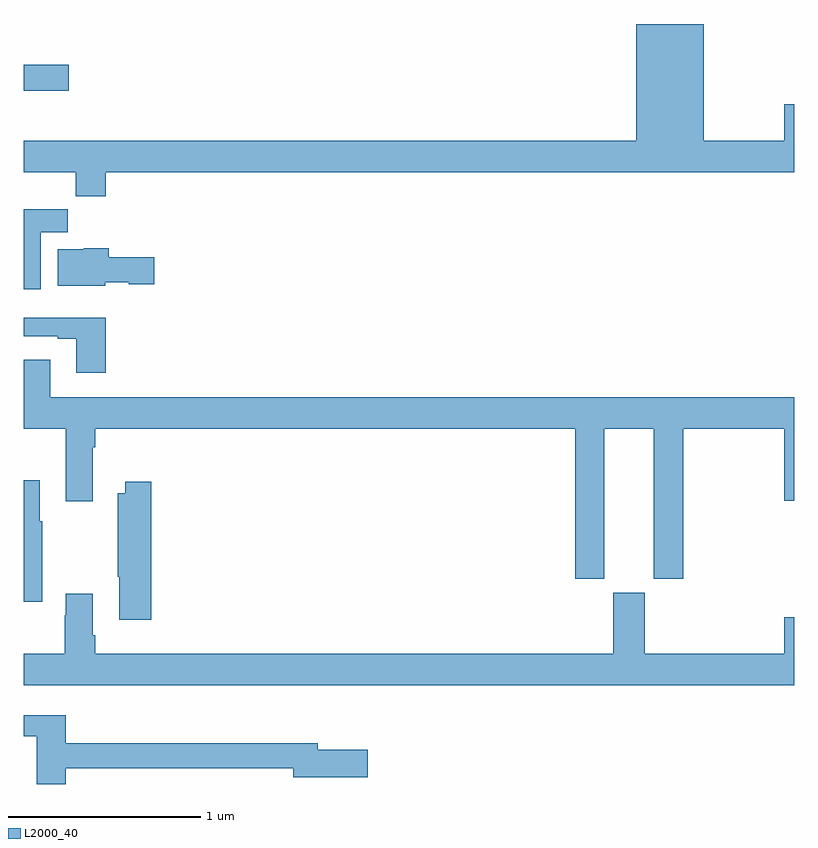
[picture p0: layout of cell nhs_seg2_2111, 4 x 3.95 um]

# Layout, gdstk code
import gdstk
lib = gdstk.Library(unit=1e-6, precision=1e-09)
def R(c, l, rs):  # rectangles x0, y0, x1, y1
    for r in rs: c.add(gdstk.rectangle(r[:2], r[2:], *l))
def P(c, l, *ps):  # polygons
    for p in ps: c.add(gdstk.Polygon(p, *l))
L2000_40 = (2000, 40)

nhs_seg2_2111 = lib.new_cell('nhs_seg2_2111')
R(nhs_seg2_2111, L2000_40, [(221,641.399,221.233,641.534)])
P(nhs_seg2_2111, L2000_40, [(221.426,640.976),(225,640.976),(225,641.329),(224.948,641.329),(224.948,641.14),(224.53,641.14),(224.53,641.746),(224.18,641.746),(224.18,641.14),(221,641.14),(221,640.976),(221.269,640.976),(221.269,640.852),(221.426,640.852)],
  [(221.089,640.664),(221.228,640.664),(221.228,640.783),(221,640.783),(221,640.368),(221.089,640.368)],
  [(221.424,640.406),(221.544,640.406),(221.544,640.394),(221.677,640.394),(221.677,640.536),(221.441,640.536),(221.441,640.582),(221.31,640.582),(221.31,640.576),(221.177,640.576),(221.177,640.388),(221.424,640.388)],
  [(221.426,640.222),(221,640.222),(221,640.125),(221.177,640.125),(221.177,640.113),(221.273,640.113),(221.273,639.936),(221.426,639.936)],
  [(221.137,640.003),(221,640.003),(221,639.644),(221.219,639.644),(221.219,639.267),(221.359,639.267),(221.359,639.548),(221.372,639.548),(221.372,639.644),(223.862,639.644),(223.862,638.865),(224.014,638.865),(224.014,639.644),(224.27,639.644),(224.27,638.865),(224.423,638.865),(224.423,639.644),(224.948,639.644),(224.948,639.27),(225,639.27),(225,639.808),(221.137,639.808)],
  [(221.095,639.163),(221.083,639.163),(221.083,639.376),(221,639.376),(221,638.747),(221.095,638.747)],
  [(221.663,639.37),(221.528,639.37),(221.528,639.31),(221.488,639.31),(221.488,638.875),(221.495,638.875),(221.495,638.652),(221.663,638.652)],
  [(225,638.665),(224.948,638.665),(224.948,638.476),(224.224,638.476),(224.224,638.793),(224.06,638.793),(224.06,638.476),(221.372,638.476),(221.372,638.572),(221.359,638.572),(221.359,638.788),(221.219,638.788),(221.219,638.675),(221.212,638.675),(221.212,638.476),(221,638.476),(221,638.312),(225,638.312)],
  [(221.219,637.882),(222.398,637.882),(222.398,637.835),(222.787,637.835),(222.787,637.977),(222.526,637.977),(222.526,638.011),(221.219,638.011),(221.219,638.158),(221,638.158),(221,638.049),(221.068,638.049),(221.068,637.8),(221.219,637.8)])

lib.write_gds('nhs_seg2_2111.gds')
